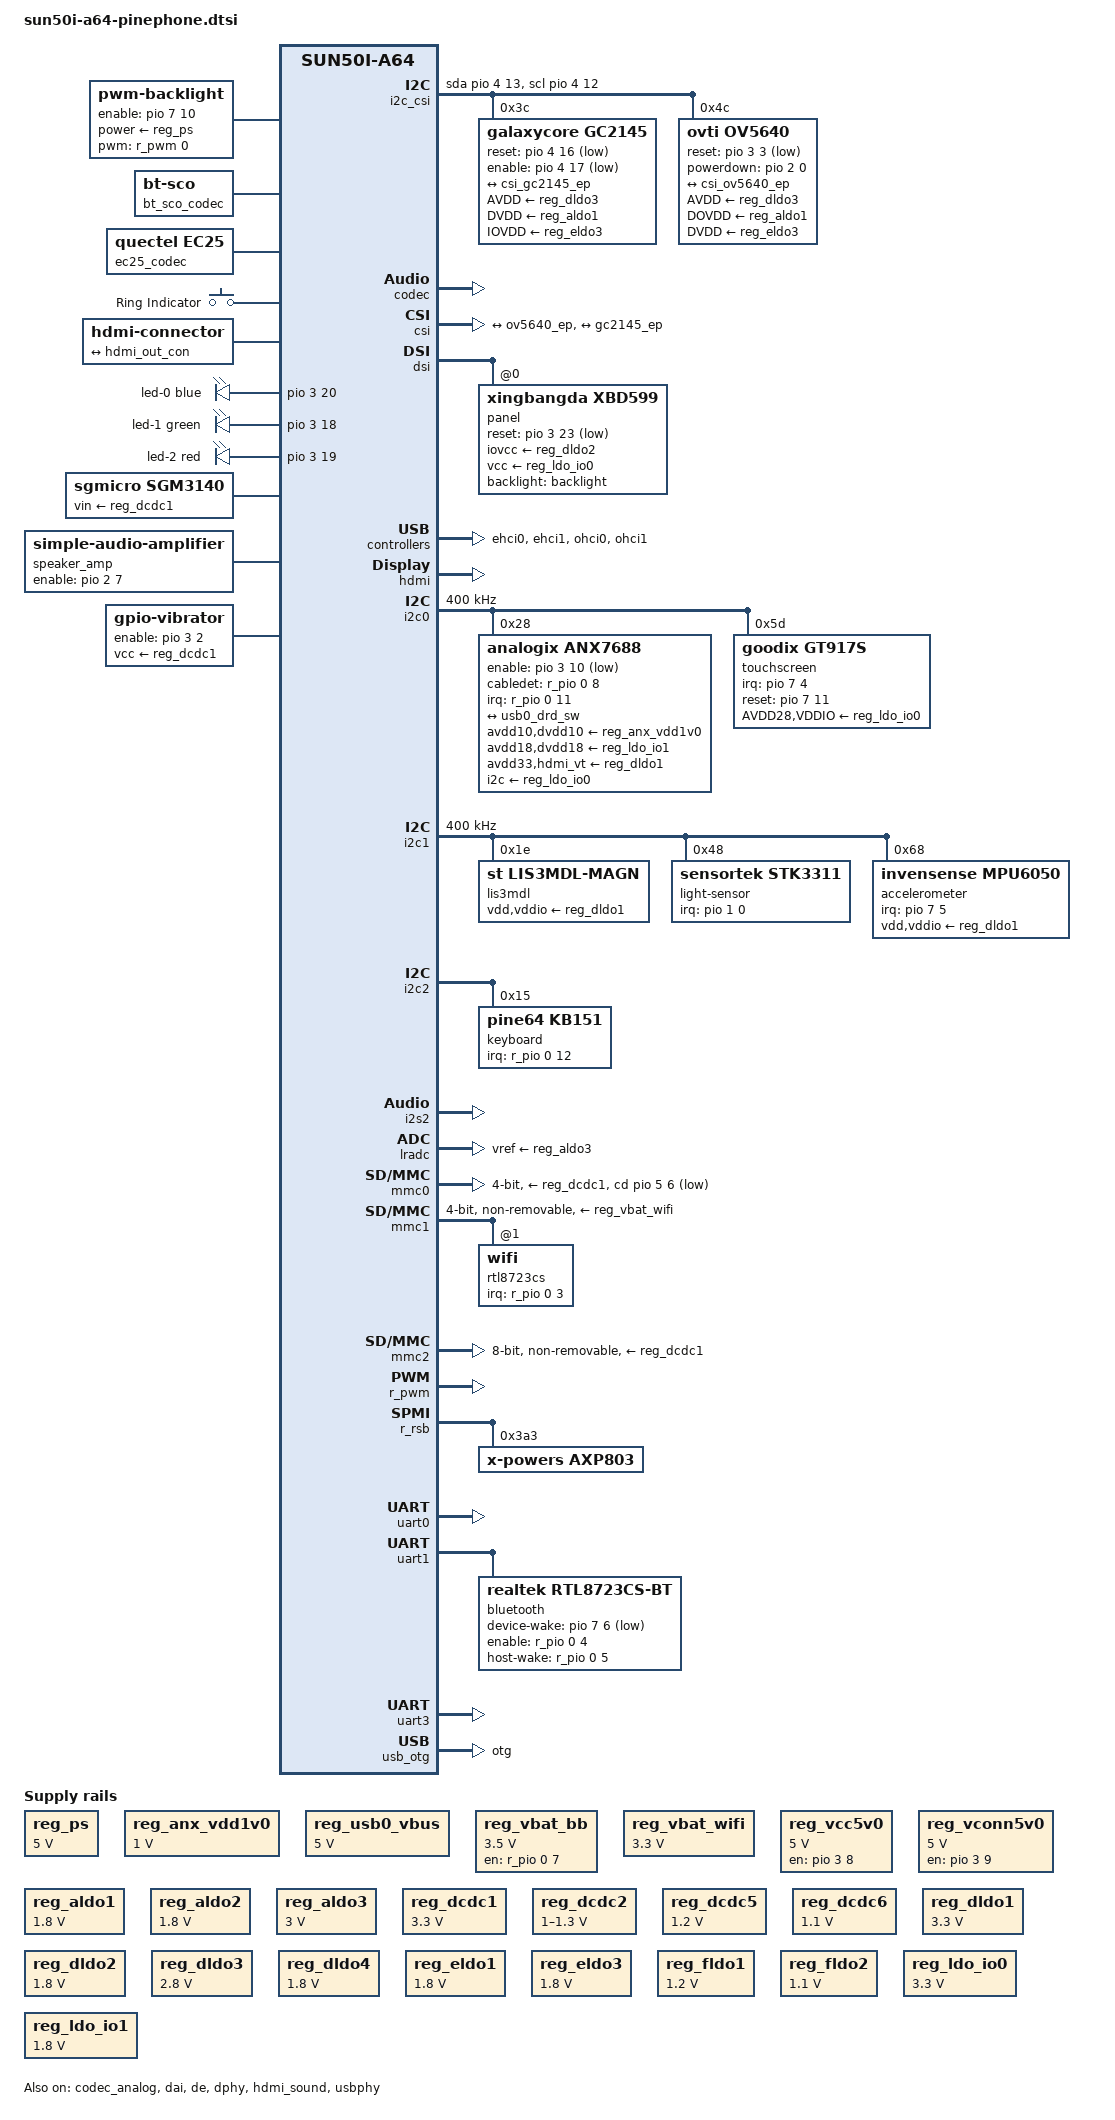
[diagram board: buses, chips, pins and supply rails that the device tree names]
// SPDX-License-Identifier: (GPL-2.0+ OR MIT)
// Copyright (C) 2019 Icenowy Zheng <icenowy@aosc.xyz>
// Copyright (C) 2020 Martijn Braam <martijn@brixit.nl>
// Copyright (C) 2020 Ondrej Jirman <megous@megous.com>

#include "sun50i-a64.dtsi"
#include "sun50i-a64-cpu-opp.dtsi"

#include <dt-bindings/gpio/gpio.h>
#include <dt-bindings/input/gpio-keys.h>
#include <dt-bindings/input/input.h>
#include <dt-bindings/leds/common.h>
#include <dt-bindings/pwm/pwm.h>
#include <dt-bindings/usb/pd.h>

/ {
	aliases {
		ethernet0 = &rtl8723cs;
		serial0 = &uart0;
	};

	backlight: backlight {
		compatible = "pwm-backlight";
		pwms = <&r_pwm 0 50000 PWM_POLARITY_INVERTED>;
		enable-gpios = <&pio 7 10 GPIO_ACTIVE_HIGH>; /* PH10 */
		power-supply = <&reg_ps>;
		/* Backlight configuration differs per PinePhone revision. */
	};

	bt_sco_codec: bt-sco-codec {
		#sound-dai-cells = <1>;
		compatible = "linux,bt-sco";
	};

	chosen {
		stdout-path = "serial0:115200n8";
	};

	ec25_codec: ec25-codec {
		#sound-dai-cells = <1>;
		compatible = "quectel,ec25";
	};

	gpio-keys {
		compatible = "gpio-keys";

		ring_indicator: ring-indicator {
			label = "Ring Indicator";
			linux,can-disable;
			linux,code = <KEY_WAKEUP>;
			wakeup-event-action = <EV_ACT_ASSERTED>;
			wakeup-source;
		};
	};

	hdmi-connector {
		/* This should use the USB type C binding. */
		compatible = "hdmi-connector";
		type = "a";

		port {
			hdmi_con_in: endpoint {
				remote-endpoint = <&hdmi_out_con>;
			};
		};
	};

	i2c_csi: i2c-csi {
		compatible = "i2c-gpio";
		sda-gpios = <&pio 4 13 (GPIO_ACTIVE_HIGH | GPIO_OPEN_DRAIN)>; /* PE13 */
		scl-gpios = <&pio 4 12 (GPIO_ACTIVE_HIGH | GPIO_OPEN_DRAIN)>; /* PE12 */
		i2c-gpio,delay-us = <3>;
		#address-cells = <1>;
		#size-cells = <0>;
	};

	leds {
		compatible = "gpio-leds";

		led-0 {
			function = LED_FUNCTION_INDICATOR;
			color = <LED_COLOR_ID_BLUE>;
			gpios = <&pio 3 20 GPIO_ACTIVE_HIGH>; /* PD20 */
			max-brightness = <1>;
		};

		led-1 {
			function = LED_FUNCTION_INDICATOR;
			color = <LED_COLOR_ID_GREEN>;
			gpios = <&pio 3 18 GPIO_ACTIVE_HIGH>; /* PD18 */
			max-brightness = <1>;
		};

		led-2 {
			function = LED_FUNCTION_INDICATOR;
			color = <LED_COLOR_ID_RED>;
			gpios = <&pio 3 19 GPIO_ACTIVE_HIGH>; /* PD19 */
			max-brightness = <1>;
		};
	};

	reg_ps: ps-regulator {
		compatible = "regulator-fixed";
		regulator-name = "ps";
		regulator-min-microvolt = <5000000>;
		regulator-max-microvolt = <5000000>;
		regulator-boot-on;
	};

	reg_anx_vdd1v0: anx-vdd1v0 {
		compatible = "regulator-fixed";
		regulator-name = "anx-vdd1v0";
		regulator-min-microvolt = <1000000>;
		regulator-max-microvolt = <1000000>;
	};

	reg_usb0_vbus: usb0-vbus {
		compatible = "regulator-fixed";
		regulator-name = "usb0-vbus";
		regulator-min-microvolt = <5000000>;
		regulator-max-microvolt = <5000000>;
	};

	reg_vbat_bb: vbat-bb {
		compatible = "regulator-fixed";
		regulator-always-on;
		regulator-name = "vbat-bb";
		regulator-min-microvolt = <3500000>;
		regulator-max-microvolt = <3500000>;
		gpio = <&r_pio 0 7 GPIO_ACTIVE_HIGH>; /* PL7 */
		enable-active-high;
	};

	reg_vbat_wifi: vbat-wifi {
		compatible = "regulator-fixed";
		regulator-min-microvolt = <3300000>;
		regulator-max-microvolt = <3300000>;
		regulator-name = "vbat-wifi";
	};

	reg_vcc5v0: vcc5v0 {
		compatible = "regulator-fixed";
		regulator-name = "vcc5v0";
		regulator-min-microvolt = <5000000>;
		regulator-max-microvolt = <5000000>;
		gpio = <&pio 3 8 GPIO_ACTIVE_HIGH>; /* PD8 */
		enable-active-high;
	};

	reg_vconn5v0: vconn5v0 {
		compatible = "regulator-fixed";
		regulator-name = "vconn5v0";
		regulator-min-microvolt = <5000000>;
		regulator-max-microvolt = <5000000>;
		gpio = <&pio 3 9 GPIO_ACTIVE_HIGH>; /* PD9 */
		enable-active-high;
	};

	sgm3140: led-controller {
		compatible = "sgmicro,sgm3140";
		vin-supply = <&reg_dcdc1>;

		sgm3140_flash: led {
			function = LED_FUNCTION_FLASH;
			color = <LED_COLOR_ID_WHITE>;
			flash-max-timeout-us = <250000>;
		};
	};

	speaker_amp: audio-amplifier {
		compatible = "simple-audio-amplifier";
		enable-gpios = <&pio 2 7 GPIO_ACTIVE_HIGH>; /* PC7 */
		sound-name-prefix = "Speaker Amp";
	};

	vibrator {
		compatible = "gpio-vibrator";
		enable-gpios = <&pio 3 2 GPIO_ACTIVE_HIGH>; /* PD2 */
		vcc-supply = <&reg_dcdc1>;
	};
};

&codec {
	pinctrl-names = "default";
	pinctrl-0 = <&aif2_pins>, <&aif3_pins>;
	status = "okay";
};

&codec_analog {
	cpvdd-supply = <&reg_eldo1>;
	status = "okay";
};

&cpu0 {
	cpu-supply = <&reg_dcdc2>;
};

&cpu1 {
	cpu-supply = <&reg_dcdc2>;
};

&cpu2 {
	cpu-supply = <&reg_dcdc2>;
};

&cpu3 {
	cpu-supply = <&reg_dcdc2>;
};

&cpu_alert0 {
	temperature = <60000>;
};

&cpu_alert1 {
	temperature = <80000>;
};

&csi {
	pinctrl-0 = <&csi_pins>, <&csi_mclk_pin>;
	status = "okay";

	port {
		#address-cells = <1>;
		#size-cells = <0>;

		csi_ov5640_ep: endpoint@0 {
			reg = <0>;
			remote-endpoint = <&ov5640_ep>;
			bus-width = <8>;
			hsync-active = <1>; /* Active high */
			vsync-active = <0>; /* Active low */
			data-active = <1>;  /* Active high */
			pclk-sample = <1>;  /* Rising */
		};

		csi_gc2145_ep: endpoint@1 {
			reg = <1>;
			remote-endpoint = <&gc2145_ep>;
			bus-width = <8>;
			hsync-active = <1>;
			vsync-active = <1>;
			data-active = <1>;
			pclk-sample = <1>;
		};
	};
};

&dai {
	status = "okay";
};

&de {
	status = "okay";
};

&dphy {
	status = "okay";
};

&dsi {
	vcc-dsi-supply = <&reg_dldo1>;
	status = "okay";

	panel@0 {
		compatible = "xingbangda,xbd599";
		reg = <0>;
		reset-gpios = <&pio 3 23 GPIO_ACTIVE_LOW>; /* PD23 */
		iovcc-supply = <&reg_dldo2>;
		vcc-supply = <&reg_ldo_io0>;
		backlight = <&backlight>;
	};
};

&ehci0 {
	status = "okay";
};

&ehci1 {
	status = "okay";
};

&hdmi {
	hvcc-supply = <&reg_dldo1>;
	status = "okay";
};

&hdmi_out {
	hdmi_out_con: endpoint {
		remote-endpoint = <&hdmi_con_in>;
	};
};

&hdmi_sound {
	status = "okay";
};

&i2c0 {
	status = "okay";
	clock-frequency = <400000>;

	anx7688: hdmi-bridge@28 {
		compatible = "analogix,anx7688";
		reg = <0x28>;

		interrupt-parent = <&r_pio>;
		interrupts = <0 11 IRQ_TYPE_EDGE_FALLING>; /* PL11 */

		enable-gpios = <&pio 3 10 GPIO_ACTIVE_LOW>; /* PD10 */
		cabledet-gpios = <&r_pio 0 8 GPIO_ACTIVE_HIGH>; /* PL8 */

		avdd10-supply = <&reg_anx_vdd1v0>;
		dvdd10-supply = <&reg_anx_vdd1v0>;
		avdd18-supply = <&reg_ldo_io1>;
		dvdd18-supply = <&reg_ldo_io1>;
		avdd33-supply = <&reg_dldo1>;
		i2c-supply = <&reg_ldo_io0>;
		vconn-supply = <&reg_vconn5v0>;
		hdmi_vt-supply = <&reg_dldo1>;
		vbus-supply = <&reg_usb0_vbus>;
		vbus_in-supply = <&usb_power_supply>;

		source-caps = <
			PDO_FIXED(5000, 500, PDO_FIXED_DATA_SWAP | PDO_FIXED_USB_COMM | PDO_FIXED_DUAL_ROLE)
		>;

		sink-caps = <
			PDO_FIXED(5000, 3000, PDO_FIXED_DATA_SWAP | PDO_FIXED_USB_COMM | PDO_FIXED_DUAL_ROLE)
		>;

		port {
			typec0_drd_sw: endpoint {
				remote-endpoint = <&usb0_drd_sw>;
			};
		};
	};

	touchscreen@5d {
		compatible = "goodix,gt917s";
		reg = <0x5d>;
		interrupt-parent = <&pio>;
		interrupts = <7 4 IRQ_TYPE_LEVEL_HIGH>; /* PH4 */
		irq-gpios = <&pio 7 4 GPIO_ACTIVE_HIGH>; /* PH4 */
		reset-gpios = <&pio 7 11 GPIO_ACTIVE_HIGH>; /* PH11 */
		AVDD28-supply = <&reg_ldo_io0>;
		VDDIO-supply = <&reg_ldo_io0>;
		touchscreen-size-x = <720>;
		touchscreen-size-y = <1440>;
		poweroff-in-suspend;
	};
};

&i2c1 {
	status = "okay";
	clock-frequency = <400000>;

	/* Magnetometer */
	lis3mdl: magnetometer@1e {
		compatible = "st,lis3mdl-magn";
		reg = <0x1e>;
		vdd-supply = <&reg_dldo1>;
		vddio-supply = <&reg_dldo1>;
	};

	/* Light/proximity sensor */
	light-sensor@48 {
		compatible = "sensortek,stk3311";
		reg = <0x48>;
		interrupt-parent = <&pio>;
		interrupts = <1 0 IRQ_TYPE_EDGE_FALLING>; /* PB0 */
	};

	/* Accelerometer/gyroscope */
	accelerometer@68 {
		compatible = "invensense,mpu6050";
		reg = <0x68>;
		interrupt-parent = <&pio>;
		interrupts = <7 5 IRQ_TYPE_EDGE_RISING>; /* PH5 */
		vdd-supply = <&reg_dldo1>;
		vddio-supply = <&reg_dldo1>;
		mount-matrix = "0", "1", "0",
			       "-1", "0", "0",
			       "0", "0", "-1";
	};
};

/* Connected to pogo pins (external spring based pinheader for user addons) */
&i2c2 {
	status = "okay";

	keyboard@15 {
		compatible = "pine64,kb151";
		reg = <0x15>;
		interrupt-parent = <&r_pio>;
		interrupts = <0 12 IRQ_TYPE_EDGE_FALLING>; /* PL12 */
		keypad,num-rows = <12>;
		keypad,num-columns = <12>;
		linux,keymap = <MATRIX_KEY(0,  0, KEY_ESC)
				MATRIX_KEY(0,  1, KEY_1)
				MATRIX_KEY(0,  2, KEY_2)
				MATRIX_KEY(0,  3, KEY_3)
				MATRIX_KEY(0,  4, KEY_4)
				MATRIX_KEY(0,  5, KEY_5)
				MATRIX_KEY(0,  6, KEY_6)
				MATRIX_KEY(0,  7, KEY_7)
				MATRIX_KEY(0,  8, KEY_8)
				MATRIX_KEY(0,  9, KEY_9)
				MATRIX_KEY(0, 10, KEY_0)
				MATRIX_KEY(0, 11, KEY_BACKSPACE)
				MATRIX_KEY(1,  0, KEY_TAB)
				MATRIX_KEY(1,  1, KEY_Q)
				MATRIX_KEY(1,  2, KEY_W)
				MATRIX_KEY(1,  3, KEY_E)
				MATRIX_KEY(1,  4, KEY_R)
				MATRIX_KEY(1,  5, KEY_T)
				MATRIX_KEY(1,  6, KEY_Y)
				MATRIX_KEY(1,  7, KEY_U)
				MATRIX_KEY(1,  8, KEY_I)
				MATRIX_KEY(1,  9, KEY_O)
				MATRIX_KEY(1, 10, KEY_P)
				MATRIX_KEY(1, 11, KEY_ENTER)
				MATRIX_KEY(2,  0, KEY_LEFTMETA)
				MATRIX_KEY(2,  1, KEY_A)
				MATRIX_KEY(2,  2, KEY_S)
				MATRIX_KEY(2,  3, KEY_D)
				MATRIX_KEY(2,  4, KEY_F)
				MATRIX_KEY(2,  5, KEY_G)
				MATRIX_KEY(2,  6, KEY_H)
				MATRIX_KEY(2,  7, KEY_J)
				MATRIX_KEY(2,  8, KEY_K)
				MATRIX_KEY(2,  9, KEY_L)
				MATRIX_KEY(2, 10, KEY_SEMICOLON)
				MATRIX_KEY(3,  0, KEY_LEFTSHIFT)
				MATRIX_KEY(3,  1, KEY_Z)
				MATRIX_KEY(3,  2, KEY_X)
				MATRIX_KEY(3,  3, KEY_C)
				MATRIX_KEY(3,  4, KEY_V)
				MATRIX_KEY(3,  5, KEY_B)
				MATRIX_KEY(3,  6, KEY_N)
				MATRIX_KEY(3,  7, KEY_M)
				MATRIX_KEY(3,  8, KEY_COMMA)
				MATRIX_KEY(3,  9, KEY_DOT)
				MATRIX_KEY(3, 10, KEY_SLASH)
				MATRIX_KEY(4,  1, KEY_LEFTCTRL)
				MATRIX_KEY(4,  4, KEY_SPACE)
				MATRIX_KEY(4,  6, KEY_APOSTROPHE)
				MATRIX_KEY(4,  8, KEY_RIGHTBRACE)
				MATRIX_KEY(4,  9, KEY_LEFTBRACE)
				MATRIX_KEY(5,  2, KEY_FN)
				MATRIX_KEY(5,  3, KEY_LEFTALT)
				MATRIX_KEY(5,  5, KEY_RIGHTALT)

				/* FN layer */
				MATRIX_KEY(6,  1, KEY_BACKSLASH)
				MATRIX_KEY(6,  2, KEY_BACKSLASH)
				MATRIX_KEY(6,  3, KEY_DOLLAR)
				MATRIX_KEY(6,  4, KEY_EURO)
				MATRIX_KEY(6,  5, KEY_GRAVE)
				MATRIX_KEY(6,  6, KEY_GRAVE)
				MATRIX_KEY(6,  7, KEY_MINUS)
				MATRIX_KEY(6,  8, KEY_EQUAL)
				MATRIX_KEY(6,  9, KEY_MINUS)
				MATRIX_KEY(6, 10, KEY_EQUAL)
				MATRIX_KEY(6, 11, KEY_DELETE)

				MATRIX_KEY(8,  0, KEY_SYSRQ)
				MATRIX_KEY(8, 10, KEY_INSERT)

				MATRIX_KEY(9,  0, KEY_LEFTSHIFT)
				MATRIX_KEY(9,  8, KEY_HOME)
				MATRIX_KEY(9,  9, KEY_UP)
				MATRIX_KEY(9, 10, KEY_END)

				MATRIX_KEY(10, 1, KEY_LEFTCTRL)
				MATRIX_KEY(10, 6, KEY_LEFT)
				MATRIX_KEY(10, 8, KEY_RIGHT)
				MATRIX_KEY(10, 9, KEY_DOWN)

				MATRIX_KEY(11, 2, KEY_FN)
				MATRIX_KEY(11, 3, KEY_LEFTALT)
				MATRIX_KEY(11, 5, KEY_RIGHTALT)>;
		wakeup-source;
	};
};

&i2c_csi {
	gc2145: front-camera@3c {
		compatible = "galaxycore,gc2145";
		reg = <0x3c>;
		clocks = <&ccu CLK_CSI_MCLK>;
		clock-names = "xclk";

		AVDD-supply = <&reg_dldo3>;
		DVDD-supply = <&reg_aldo1>;
		IOVDD-supply = <&reg_eldo3>;
		reset-gpios = <&pio 4 16 (GPIO_ACTIVE_LOW | GPIO_OPEN_DRAIN)>; /* PE16 */
		enable-gpios = <&pio 4 17 (GPIO_ACTIVE_LOW | GPIO_OPEN_DRAIN)>; /* PE17 */

		port {
			gc2145_ep: endpoint {
				remote-endpoint = <&csi_gc2145_ep>;
				bus-width = <8>;
				hsync-active = <1>;
				vsync-active = <1>;
				data-active = <1>;
				pclk-sample = <1>;
			};
		};
	};

	ov5640: rear-camera@4c {
		compatible = "ovti,ov5640";
		reg = <0x4c>;
		clocks = <&ccu CLK_CSI_MCLK>;
		clock-names = "xclk";

		AVDD-supply = <&reg_dldo3>;
		DOVDD-supply = <&reg_aldo1>; /* shared with AFVCC */
		DVDD-supply = <&reg_eldo3>;
		reset-gpios = <&pio 3 3 (GPIO_ACTIVE_LOW | GPIO_OPEN_DRAIN)>; /* PD3 */
		powerdown-gpios = <&pio 2 0 (GPIO_ACTIVE_HIGH | GPIO_OPEN_DRAIN)>; /* PC0 */

		port {
			ov5640_ep: endpoint {
				remote-endpoint = <&csi_ov5640_ep>;
				bus-width = <8>;
				hsync-active = <1>; /* Active high */
				vsync-active = <0>; /* Active low */
				data-active = <1>;  /* Active high */
				pclk-sample = <1>;  /* Rising */
			};
		};
	};
};

&i2s2 {
	status = "okay";
};

&lradc {
	vref-supply = <&reg_aldo3>;
//	wakeup-source;
	status = "okay";

	button-200 {
		label = "Volume Up";
		linux,code = <KEY_VOLUMEUP>;
		channel = <0>;
		voltage = <200000>;
	};

	button-400 {
		label = "Volume Down";
		linux,code = <KEY_VOLUMEDOWN>;
		channel = <0>;
		voltage = <400000>;
	};
};

&mmc0 {
	pinctrl-names = "default";
	pinctrl-0 = <&mmc0_pins>;
	vmmc-supply = <&reg_dcdc1>;
	vqmmc-supply = <&reg_dcdc1>;
	cd-gpios = <&pio 5 6 GPIO_ACTIVE_LOW>; /* PF6 */
	disable-wp;
	bus-width = <4>;
	status = "okay";
};

&mmc1 {
	pinctrl-names = "default";
	pinctrl-0 = <&mmc1_pins>;
	vmmc-supply = <&reg_vbat_wifi>;
	vqmmc-supply = <&reg_dldo4>;
	bus-width = <4>;
	non-removable;
	status = "okay";
	keep-power-in-suspend;

	rtl8723cs: wifi@1 {
		reg = <1>;
		interrupt-parent = <&r_pio>;
		interrupts = <0 3 IRQ_TYPE_EDGE_FALLING>; /* PL3 */
	};
};

&mmc2 {
	pinctrl-names = "default";
	pinctrl-0 = <&mmc2_pins>;
	vmmc-supply = <&reg_dcdc1>;
	vqmmc-supply = <&reg_dcdc1>;
	bus-width = <8>;
	non-removable;
	cap-mmc-hw-reset;
	status = "okay";
};

&ohci0 {
	status = "okay";
};

&ohci1 {
	status = "okay";
};

&pio {
	vcc-pb-supply = <&reg_dcdc1>;
	vcc-pc-supply = <&reg_dcdc1>;
	vcc-pd-supply = <&reg_dcdc1>;
	vcc-pe-supply = <&reg_aldo1>;
	vcc-pf-supply = <&reg_dcdc1>;
	vcc-pg-supply = <&reg_dldo4>;
	vcc-ph-supply = <&reg_dcdc1>;
};

&r_pio {
	/*
	 * FIXME: We can't add that supply for now since it would
	 * create a circular dependency between pinctrl, the regulator
	 * and the RSB Bus.
	 *
	 * vcc-pl-supply = <&reg_aldo2>;
	 */
};

&r_pwm {
	status = "okay";
};

&r_rsb {
	status = "okay";

	axp803: pmic@3a3 {
		compatible = "x-powers,axp803";
		reg = <0x3a3>;
		interrupt-parent = <&r_intc>;
		interrupts = <GIC_SPI 32 IRQ_TYPE_LEVEL_LOW>;
	};
};

#include "axp803.dtsi"

&axp_adc {
	x-powers,ts-as-gpadc;
};

&battery_power_supply {
	status = "okay";
};

&reg_aldo1 {
	regulator-min-microvolt = <1800000>;
	regulator-max-microvolt = <1800000>;
	regulator-name = "dovdd-csi";
};

&reg_aldo2 {
	regulator-always-on;
	regulator-min-microvolt = <1800000>;
	regulator-max-microvolt = <1800000>;
	regulator-name = "vcc-pl";
};

&reg_aldo3 {
	regulator-always-on;
	regulator-min-microvolt = <3000000>;
	regulator-max-microvolt = <3000000>;
	regulator-name = "vcc-pll-avcc";
};

&reg_dcdc1 {
	regulator-always-on;
	regulator-min-microvolt = <3300000>;
	regulator-max-microvolt = <3300000>;
	regulator-name = "vcc-3v3";
};

&reg_dcdc2 {
	regulator-always-on;
	regulator-min-microvolt = <1000000>;
	regulator-max-microvolt = <1300000>;
	regulator-name = "vdd-cpux";
};

/* DCDC3 is polyphased with DCDC2 */

&reg_dcdc5 {
	regulator-always-on;
	regulator-min-microvolt = <1200000>;
	regulator-max-microvolt = <1200000>;
	regulator-name = "vcc-dram";
};

&reg_dcdc6 {
	regulator-always-on;
	regulator-min-microvolt = <1100000>;
	regulator-max-microvolt = <1100000>;
	regulator-name = "vdd-sys";
};

&reg_dldo1 {
	regulator-min-microvolt = <3300000>;
	regulator-max-microvolt = <3300000>;
	regulator-name = "vcc-dsi-sensor";
};

&reg_dldo2 {
	regulator-min-microvolt = <1800000>;
	regulator-max-microvolt = <1800000>;
	regulator-name = "vcc-mipi-io";
};

&reg_dldo3 {
	regulator-min-microvolt = <2800000>;
	regulator-max-microvolt = <2800000>;
	regulator-name = "avdd-csi";
};

&reg_dldo4 {
	regulator-min-microvolt = <1800000>;
	regulator-max-microvolt = <1800000>;
	regulator-name = "vcc-wifi-io";
};

&reg_eldo1 {
	regulator-always-on;
	regulator-min-microvolt = <1800000>;
	regulator-max-microvolt = <1800000>;
	regulator-name = "vcc-lpddr";
};

&reg_eldo3 {
	regulator-min-microvolt = <1800000>;
	regulator-max-microvolt = <1800000>;
	regulator-name = "dvdd-1v8-csi";
};

&reg_fldo1 {
	regulator-min-microvolt = <1200000>;
	regulator-max-microvolt = <1200000>;
	regulator-name = "vcc-1v2-hsic";
};

&reg_fldo2 {
	regulator-always-on;
	regulator-min-microvolt = <1100000>;
	regulator-max-microvolt = <1100000>;
	regulator-name = "vdd-cpus";
};

&reg_ldo_io0 {
	regulator-min-microvolt = <3300000>;
	regulator-max-microvolt = <3300000>;
	regulator-name = "vcc-lcd-ctp-stk";
	status = "okay";
};

&reg_ldo_io1 {
	regulator-min-microvolt = <1800000>;
	regulator-max-microvolt = <1800000>;
	regulator-name = "vcc-1v8-typec";
	status = "okay";
};

&reg_rtc_ldo {
	regulator-name = "vcc-rtc";
};

&sound {
	status = "okay";
	simple-audio-card,name = "PinePhone";
	simple-audio-card,aux-devs = <&codec_analog>, <&speaker_amp>;
	simple-audio-card,widgets = "Microphone", "Headset Microphone",
				    "Microphone", "Internal Microphone",
				    "Headphone", "Headphone",
				    "Speaker", "Internal Earpiece",
				    "Speaker", "Internal Speaker";
	simple-audio-card,routing =
			"Headphone", "HP",
			"Internal Earpiece", "EARPIECE",
			"Internal Speaker", "Speaker Amp OUTL",
			"Internal Speaker", "Speaker Amp OUTR",
			"Speaker Amp INL", "LINEOUT",
			"Speaker Amp INR", "LINEOUT",
			"Left DAC", "DACL",
			"Right DAC", "DACR",
			"ADCL", "Left ADC",
			"ADCR", "Right ADC",
			"Internal Microphone", "MBIAS",
			"MIC1", "Internal Microphone",
			"Headset Microphone", "HBIAS",
			"MIC2", "Headset Microphone";

	simple-audio-card,dai-link@1 {
		format = "dsp_a";
		frame-master = <&link1_codec>;
		bitclock-master = <&link1_codec>;
		bitclock-inversion;

		link1_cpu: cpu {
			sound-dai = <&ec25_codec 0>;
		};

		link1_codec: codec {
			sound-dai = <&codec 1>;
			dai-tdm-slot-num = <1>;
			dai-tdm-slot-width = <32>;
		};
	};

	simple-audio-card,dai-link@2 {
		format = "dsp_a";
		frame-master = <&link2_codec>;
		bitclock-master = <&link2_codec>;
		bitclock-inversion;

		link2_cpu: cpu {
			sound-dai = <&bt_sco_codec 0>;
		};

		link2_codec: codec {
			sound-dai = <&codec 2>;
			dai-tdm-slot-num = <1>;
			dai-tdm-slot-width = <32>;
		};
	};
};

&uart0 {
	pinctrl-names = "default";
	pinctrl-0 = <&uart0_pb_pins>;
	status = "okay";
};

&uart1 {
	pinctrl-names = "default";
	pinctrl-0 = <&uart1_pins>, <&uart1_rts_cts_pins>;
	status = "okay";

	bluetooth {
		compatible = "realtek,rtl8723cs-bt";
		device-wake-gpios = <&pio 7 6 GPIO_ACTIVE_LOW>; /* PH6 */
		enable-gpios = <&r_pio 0 4 GPIO_ACTIVE_HIGH>; /* PL4 */
		host-wake-gpios = <&r_pio 0 5 GPIO_ACTIVE_HIGH>; /* PL5 */
	};
};

/* Connected to the modem (hardware flow control can't be used) */
&uart3 {
	pinctrl-names = "default";
	pinctrl-0 = <&uart3_pins>;
	status = "okay";
};

&usb_otg {
	dr_mode = "otg";
	status = "okay";
};

&usb_power_supply {
	status = "okay";
};

&usbphy {
	usb-role-switch;
	status = "okay";

	port {
		usb0_drd_sw: endpoint {
			remote-endpoint = <&typec0_drd_sw>;
		};
	};
};
